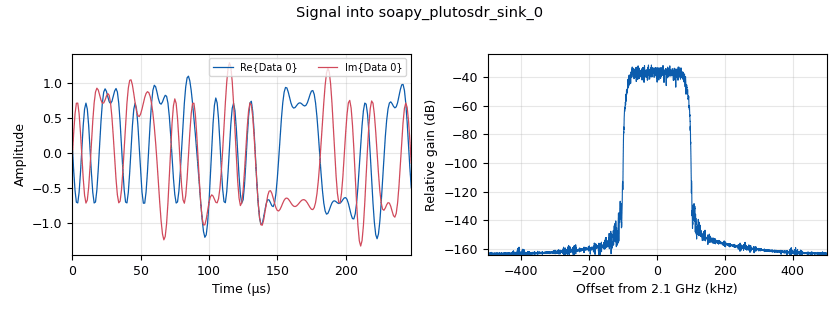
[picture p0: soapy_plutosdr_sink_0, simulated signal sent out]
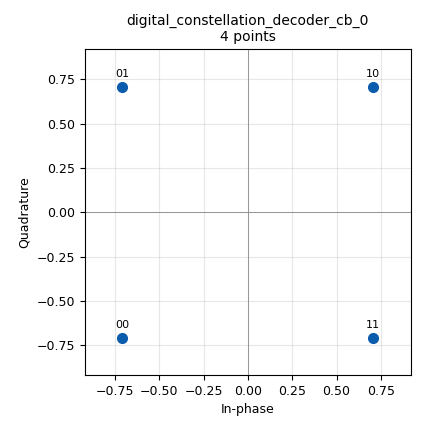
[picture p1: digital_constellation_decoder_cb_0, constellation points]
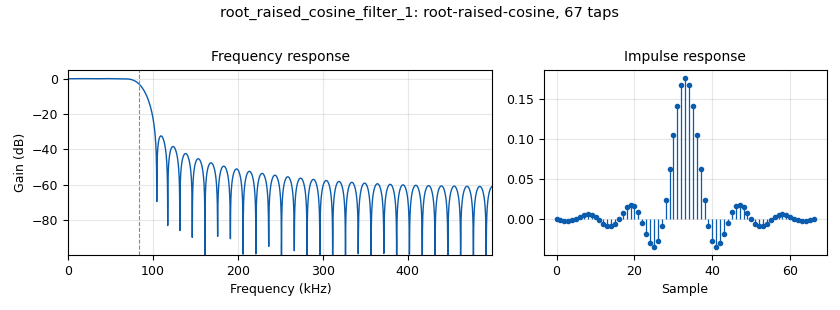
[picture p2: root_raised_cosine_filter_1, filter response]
options:
  parameters:
    author: shup-liu
    generate_options: qt_gui
    id: bladerf_digital_loopback
    output_language: python
    title: Not titled yet
  states: {}

blocks:
- name: alpha
  id: variable
  parameters:
    comment: |-
      alpha = 0.2
      bandwidth -
    value: '0.2'
  states: {}
- name: constell0
  id: variable_constellation
  parameters:
    precision: '8'
    type: qpsk
  states: {state: disabled}
- name: constell0
  id: variable_constellation
  parameters:
    const_points: '[-1-1j, -1+1j, 1+1j, 1-1j]'
    dims: '1'
    normalization: digital.constellation.AMPLITUDE_NORMALIZATION
    precision: '8'
    rot_sym: '4'
    sym_map: '[0, 1, 2, 3]'
    type: calcdist
  states: {}
- name: delay
  id: variable_qtgui_range
  parameters:
    start: '0'
    step: '1'
    stop: '100'
    value: '50'
  states: {state: disabled}
- name: frequency
  id: variable_qtgui_range
  parameters:
    comment: center freq
    start: 500e6
    step: 100e6
    stop: 2.5e9
    value: 800e6
  states: {}
- name: samp_rate
  id: variable
  parameters:
    value: 1e6
  states: {}
- name: sps
  id: variable
  parameters:
    comment: sample_per_symbol
    value: '6'
  states: {}
- name: analog_agc3_xx_0
  id: analog_agc3_xx
  parameters:
    attack_rate: '1e-3'
    decay_rate: '1e-4'
    gain: '1.0'
    iir_update_decim: '1'
    max_gain: '65536'
    reference: '1.0'
    type: complex
  states: {state: disabled}
- name: analog_random_source_x_0
  id: analog_random_source_x
  parameters:
    comment: |-
      random bytes
      1 byte
    max: '256'
    min: '0'
    num_samps: int(50e6)
    repeat: 'True'
    type: byte
  states: {}
- name: blocks_delay_1
  id: blocks_delay
  parameters:
    delay: delay
    type: float
  states: {state: disabled}
- name: blocks_file_sink_0
  id: blocks_file_sink
  parameters:
    file: ber_input.txt
    type: byte
  states: {state: disabled}
- name: blocks_file_sink_0_1
  id: blocks_file_sink
  parameters:
    file: ber_input_c.txt
    type: complex
  states: {state: disabled}
- name: blocks_file_sink_0_1_0
  id: blocks_file_sink
  parameters:
    file: ber_input_c3.txt
    type: complex
  states: {state: disabled}
- name: blocks_file_sink_0_1_0_0
  id: blocks_file_sink
  parameters:
    file: ber_input_c1.txt
    type: complex
  states: {state: disabled}
- name: blocks_file_sink_0_1_0_0_0
  id: blocks_file_sink
  parameters:
    file: ber_input_c2.txt
    type: complex
  states: {state: disabled}
- name: blocks_file_sink_2
  id: blocks_file_sink
  parameters:
    file: ber_output.txt
    type: byte
  states: {state: disabled}
- name: blocks_file_sink_2_0
  id: blocks_file_sink
  parameters:
    file: ber_output1.txt
    type: byte
  states: {state: disabled}
- name: blocks_pack_k_bits_bb_0
  id: blocks_pack_k_bits_bb
  parameters:
    k: '8'
  states: {}
- name: blocks_packed_to_unpacked_xx_0
  id: blocks_packed_to_unpacked_xx
  parameters:
    bits_per_chunk: '2'
    endianness: gr.GR_MSB_FIRST
    type: byte
  states: {state: disabled}
- name: blocks_throttle2_0
  id: blocks_throttle2
  parameters:
    samples_per_second: samp_rate*8
    type: complex
  states: {}
- name: blocks_uchar_to_float_0
  id: blocks_uchar_to_float
  parameters: {}
  states: {state: disabled}
- name: blocks_uchar_to_float_1
  id: blocks_uchar_to_float
  parameters: {}
  states: {state: disabled}
- name: blocks_unpack_k_bits_bb_0
  id: blocks_unpack_k_bits_bb
  parameters:
    k: '2'
  states: {}
- name: blocks_unpack_k_bits_bb_1
  id: blocks_unpack_k_bits_bb
  parameters:
    k: '8'
  states: {}
- name: blocks_unpack_k_bits_bb_1_0
  id: blocks_unpack_k_bits_bb
  parameters:
    k: '8'
  states: {}
- name: blocks_unpacked_to_packed_xx_0
  id: blocks_unpacked_to_packed_xx
  parameters:
    bits_per_chunk: '2'
    comment: used en lieu of "pack K bits", see if better...
    endianness: gr.GR_MSB_FIRST
    type: byte
  states: {state: disabled}
- name: blocks_vector_source_x_0
  id: blocks_vector_source_x
  parameters:
    repeat: 'True'
    type: byte
    vector: (1, 1, 1, 0, 0, 0, 0, 1)
  states: {state: disabled}
- name: channels_channel_model_0
  id: channels_channel_model
  parameters:
    epsilon: '1.0'
    freq_offset: '0.0'
    noise_voltage: '0.0'
    seed: '0'
    taps: '1.0'
  states: {state: disabled}
- name: digital_constellation_decoder_cb_0
  id: digital_constellation_decoder_cb
  parameters:
    comment: complex->0123
    constellation: constell0
  states: {}
- name: digital_constellation_encoder_bc_0
  id: digital_constellation_encoder_bc
  parameters:
    constellation: constell0
  states: {state: disabled}
- name: digital_constellation_modulator_0
  id: digital_constellation_modulator
  parameters:
    constellation: constell0
    differential: 'True'
    excess_bw: alpha
    samples_per_symbol: sps
  states: {}
- name: digital_costas_loop_cc_0
  id: digital_costas_loop_cc
  parameters:
    order: '4'
    w: 2*math.pi/100
  states: {}
- name: digital_diff_decoder_bb_0
  id: digital_diff_decoder_bb
  parameters:
    coding: digital.DIFF_DIFFERENTIAL
    modulus: '4'
  states: {}
- name: digital_symbol_sync_xx_0
  id: digital_symbol_sync_xx
  parameters:
    comment: /sps
    constellation: digital.constellation_qpsk().base()
    damping: '1.0'
    loop_bw: '0.045'
    max_dev: '1.5'
    osps: '1'
    resamp_type: digital.IR_MMSE_8TAP
    sps: sps
    ted_gain: '1.0'
    ted_type: digital.TED_SIGNAL_TIMES_SLOPE_ML
    type: cc
  states: {}
- name: epy_block_0
  id: epy_block
  parameters:
    _source_code: |
      import numpy as np
      import pmt
      from gnuradio import gr
      from collections import deque


      class blk(gr.sync_block):
          """
          Real-time BER align block.

          Inputs:
            in0: TX unpacked bits, uint8 values 0/1
            in1: RX unpacked bits, uint8 values 0/1

          Message output:
            ber_out: PMT pair (lag_bits, ber_float)

          Lag convention from np.correlate(rx, tx):
            lag > 0 means RX lags TX by lag bits
            lag < 0 means RX leads TX by -lag bits
          """

          def __init__(self, cal_size=4096, report_every=1024, window_size=100000):
              gr.sync_block.__init__(
                  self,
                  name="BER Align",
                  in_sig=[np.uint8, np.uint8],
                  out_sig=None,
              )

              self.CAL_SIZE = int(cal_size)
              self.REPORT_EVERY = int(report_every)
              self.WINDOW_SIZE = int(window_size)

              self._tx_cal = []
              self._rx_cal = []

              self._tx_q = deque()
              self._rx_q = deque()

              self._locked = False
              self._lag = 0
              self._did_initial_skip = False

              self._window_errors = deque()
              self._window_total = 0
              self._window_error_sum = 0

              self._since_report = 0

              self.message_port_register_out(pmt.intern("ber_out"))

          def _bits_for_corr(self, arr):
              arr = np.asarray(arr, dtype=np.uint8)

              # Important: this assumes values are already 0/1.
              # If values are 0/1/2/3 or raw bytes, this will warn.
              unique = np.unique(arr[:min(len(arr), 10000)])
              if not np.all((unique == 0) | (unique == 1)):
                  print("[BER Align WARNING] Input contains values other than 0/1:", unique[:20])

              return (arr & 0x01).astype(np.float32) - 0.5

          def _find_lag(self):
              tx = self._bits_for_corr(self._tx_cal)
              rx = self._bits_for_corr(self._rx_cal)

              corr = np.correlate(rx, tx, mode="full")
              peak_idx = int(np.argmax(corr))
              lag = peak_idx - (len(tx) - 1)

              # np.correlate(rx, tx) convention:
              # positive lag means RX is delayed/lags TX.
              print(
                  f"[BER Align] Calibration complete. Lag = {lag} bits "
                  f"({'RX lags TX' if lag > 0 else 'RX leads TX' if lag < 0 else 'aligned'})"
              )

              return lag

          def _initial_skip_after_lock(self):
              """
              Since calibration samples were already consumed/discarded:
                lag > 0: RX lags TX, so future RX still contains old TX bits.
                         Skip lag RX bits.
                lag < 0: RX leads TX, so future TX is behind.
                         Skip -lag TX bits.
              """
              if self._did_initial_skip:
                  return

              if self._lag > 0:
                  skip = min(self._lag, len(self._rx_q))
                  for _ in range(skip):
                      self._rx_q.popleft()
              elif self._lag < 0:
                  skip = min(-self._lag, len(self._tx_q))
                  for _ in range(skip):
                      self._tx_q.popleft()

              self._did_initial_skip = True

          def _add_to_window(self, errors, total):
              self._window_errors.append((errors, total))
              self._window_error_sum += errors
              self._window_total += total

              while self._window_total > self.WINDOW_SIZE and len(self._window_errors) > 0:
                  old_errors, old_total = self._window_errors.popleft()
                  self._window_error_sum -= old_errors
                  self._window_total -= old_total

          def _emit_ber(self):
              ber = self._window_error_sum / self._window_total if self._window_total > 0 else 0.0

              msg = pmt.cons(
                  pmt.from_long(int(self._lag)),
                  pmt.from_double(float(ber)),
              )
              self.message_port_pub(pmt.intern("ber_out"), msg)

              print(
                  f"[BER Align] window BER = {ber:.6f} "
                  f"({self._window_error_sum}/{self._window_total}, lag={self._lag})"
              )

          def work(self, input_items, output_items):
              tx_in = np.asarray(input_items[0], dtype=np.uint8)
              rx_in = np.asarray(input_items[1], dtype=np.uint8)

              n = min(len(tx_in), len(rx_in))
              tx_in = tx_in[:n]
              rx_in = rx_in[:n]

              # Calibration phase
              if not self._locked:
                  need = self.CAL_SIZE - len(self._tx_cal)
                  take = min(need, n)

                  self._tx_cal.extend(tx_in[:take].tolist())
                  self._rx_cal.extend(rx_in[:take].tolist())

                  if len(self._tx_cal) >= self.CAL_SIZE:
                      self._lag = self._find_lag()
                      self._locked = True

                      # Any samples after the calibration part of this work call
                      # should be used for BER, not thrown away.
                      for b in tx_in[take:]:
                          self._tx_q.append(int(b & 0x01))
                      for b in rx_in[take:]:
                          self._rx_q.append(int(b & 0x01))

                  return n

              # Locked phase
              for b in tx_in:
                  self._tx_q.append(int(b & 0x01))
              for b in rx_in:
                  self._rx_q.append(int(b & 0x01))

              self._initial_skip_after_lock()

              cmp_len = min(len(self._tx_q), len(self._rx_q))

              if cmp_len > 0:
                  tx_cmp = np.fromiter((self._tx_q.popleft() for _ in range(cmp_len)), dtype=np.uint8)
                  rx_cmp = np.fromiter((self._rx_q.popleft() for _ in range(cmp_len)), dtype=np.uint8)

                  errors = int(np.sum(tx_cmp != rx_cmp))
                  self._add_to_window(errors, cmp_len)

                  self._since_report += cmp_len

              if self._since_report >= self.REPORT_EVERY:
                  self._emit_ber()
                  self._since_report = 0

              return n
    cal_size: '4096'
    comment: Forget about the BER calculations. Could you have two inputs -- byte stream 1 and byte stream 2, and output delay I should add? I will then add the delay to stream 2, and the use the delayed stream 2 and the original stream 1 to calculate the BER (using the inbuilt BER block)
    report_every: 1024*2
    window_size: '100000'
  states: {}
- name: fec_ber_bf_0
  id: fec_ber_bf
  parameters:
    test_mode: 'False'
  states: {state: disabled}
- name: import_0
  id: import
  parameters:
    imports: import math
  states: {}
- name: qtgui_const_sink_x_0
  id: qtgui_const_sink_x
  parameters:
    size: '1024'
    type: complex
  states: {}
- name: qtgui_number_sink_0
  id: qtgui_number_sink
  parameters:
    graph_type: qtgui.NUM_GRAPH_HORIZ
    type: float
  states: {state: disabled}
- name: qtgui_time_sink_x_1
  id: qtgui_time_sink_x
  parameters:
    ctrlpanel: 'True'
    size: '1024'
    srate: samp_rate
    type: complex
  states: {state: disabled}
- name: qtgui_time_sink_x_3
  id: qtgui_time_sink_x
  parameters:
    ctrlpanel: 'True'
    marker1: '0'
    name: '"Unpacked data"'
    nconnections: '2'
    size: '1024'
    srate: samp_rate
    type: float
  states: {state: disabled}
- name: root_raised_cosine_filter_1
  id: root_raised_cosine_filter
  parameters:
    alpha: alpha
    comment: |-
      tom's block (?)
      num taps should be 11* num_taps
    decim: '1'
    gain: '1'
    ntaps: 11*sps
    samp_rate: samp_rate
    sym_rate: samp_rate/sps
    type: fir_filter_ccf
  states: {}
- name: soapy_bladerf_sink_0
  id: soapy_bladerf_sink
  parameters:
    center_freq: frequency
    gain: '20'
    samp_rate: samp_rate
    type: fc32
  states: {state: disabled}
- name: soapy_bladerf_source_1
  id: soapy_bladerf_source
  parameters:
    center_freq: frequency
    gain: '40'
    samp_rate: samp_rate
    type: fc32
  states: {state: disabled}
- name: soapy_plutosdr_sink_0
  id: soapy_plutosdr_sink
  parameters:
    center_freq: 2.1e9
    gain: '80'
    samp_rate: samp_rate
    type: fc32
  states: {}
- name: soapy_plutosdr_source_0
  id: soapy_plutosdr_source
  parameters:
    center_freq: 2.1e9
    gain: '80'
    samp_rate: samp_rate
    type: fc32
  states: {}
- name: virtual_sink_0
  id: virtual_sink
  parameters:
    stream_id: rx_signal_filtered
  states: {state: disabled}
- name: virtual_sink_1
  id: virtual_sink
  parameters:
    stream_id: ber_input_signal
  states: {}
- name: virtual_sink_2
  id: virtual_sink
  parameters:
    stream_id: ber_output_signal
  states: {}
- name: virtual_sink_3
  id: virtual_sink
  parameters:
    stream_id: bits_tx
  states: {state: disabled}
- name: virtual_source_0
  id: virtual_source
  parameters:
    stream_id: rx_signal_filtered
  states: {state: disabled}
- name: virtual_source_1
  id: virtual_source
  parameters:
    stream_id: ber_input_signal
  states: {}
- name: virtual_source_2
  id: virtual_source
  parameters:
    stream_id: ber_output_signal
  states: {}
- name: virtual_source_3
  id: virtual_source
  parameters:
    stream_id: bits_tx
  states: {state: disabled}

connections:
- [analog_random_source_x_0, '0', digital_constellation_modulator_0, '0']
- [analog_random_source_x_0, '0', virtual_sink_1, '0']
- [blocks_delay_1, '0', qtgui_time_sink_x_3, '0']
- [blocks_pack_k_bits_bb_0, '0', virtual_sink_2, '0']
- [blocks_packed_to_unpacked_xx_0, '0', blocks_uchar_to_float_0, '0']
- [blocks_throttle2_0, '0', soapy_plutosdr_sink_0, '0']
- [blocks_throttle2_0, '0', virtual_sink_0, '0']
- [blocks_uchar_to_float_0, '0', qtgui_time_sink_x_3, '1']
- [blocks_uchar_to_float_1, '0', virtual_sink_3, '0']
- [blocks_unpack_k_bits_bb_0, '0', blocks_pack_k_bits_bb_0, '0']
- [blocks_unpack_k_bits_bb_1, '0', blocks_file_sink_0, '0']
- [blocks_unpack_k_bits_bb_1, '0', epy_block_0, '0']
- [blocks_unpack_k_bits_bb_1_0, '0', blocks_file_sink_2, '0']
- [blocks_unpack_k_bits_bb_1_0, '0', epy_block_0, '1']
- [blocks_unpacked_to_packed_xx_0, '0', digital_constellation_modulator_0, '0']
- [blocks_vector_source_x_0, '0', blocks_unpacked_to_packed_xx_0, '0']
- [channels_channel_model_0, '0', root_raised_cosine_filter_1, '0']
- [digital_constellation_decoder_cb_0, '0', blocks_file_sink_2_0, '0']
- [digital_constellation_decoder_cb_0, '0', blocks_packed_to_unpacked_xx_0, '0']
- [digital_constellation_decoder_cb_0, '0', digital_diff_decoder_bb_0, '0']
- [digital_constellation_modulator_0, '0', blocks_file_sink_0_1, '0']
- [digital_constellation_modulator_0, '0', channels_channel_model_0, '0']
- [digital_constellation_modulator_0, '0', root_raised_cosine_filter_1, '0']
- [digital_costas_loop_cc_0, '0', blocks_file_sink_0_1_0, '0']
- [digital_costas_loop_cc_0, '0', digital_constellation_decoder_cb_0, '0']
- [digital_costas_loop_cc_0, '0', qtgui_const_sink_x_0, '0']
- [digital_costas_loop_cc_0, '0', qtgui_time_sink_x_1, '0']
- [digital_diff_decoder_bb_0, '0', blocks_unpack_k_bits_bb_0, '0']
- [digital_symbol_sync_xx_0, '0', blocks_file_sink_0_1_0_0_0, '0']
- [digital_symbol_sync_xx_0, '0', digital_costas_loop_cc_0, '0']
- [epy_block_0, ber_out, qtgui_number_sink_0, '0']
- [fec_ber_bf_0, '0', qtgui_number_sink_0, '0']
- [root_raised_cosine_filter_1, '0', blocks_throttle2_0, '0']
- [soapy_plutosdr_source_0, '0', digital_symbol_sync_xx_0, '0']
- [virtual_source_0, '0', blocks_file_sink_0_1_0_0, '0']
- [virtual_source_0, '0', digital_symbol_sync_xx_0, '0']
- [virtual_source_1, '0', blocks_unpack_k_bits_bb_1, '0']
- [virtual_source_2, '0', blocks_unpack_k_bits_bb_1_0, '0']
- [virtual_source_3, '0', blocks_delay_1, '0']

metadata:
  file_format: 1
  grc_version: 3.10.12.0
